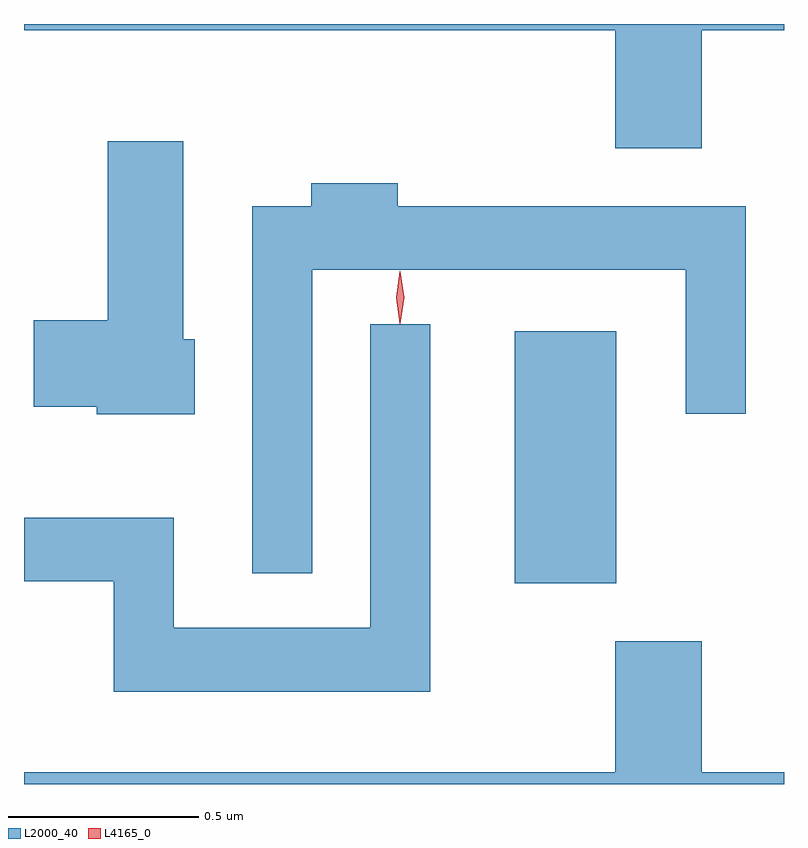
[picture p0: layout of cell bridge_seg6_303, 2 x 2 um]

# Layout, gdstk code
import gdstk
lib = gdstk.Library(unit=1e-6, precision=1e-09)
def R(c, l, rs):  # rectangles x0, y0, x1, y1
    for r in rs: c.add(gdstk.rectangle(r[:2], r[2:], *l))
def P(c, l, *ps):  # polygons
    for p in ps: c.add(gdstk.Polygon(p, *l))
L2000_40 = (2000, 40)
L4165_0 = (4165, 0)

bridge_seg6_303 = lib.new_cell('bridge_seg6_303')
R(bridge_seg6_303, L2000_40, [(1288.626,1537.481,1288.894,1538.144)])
P(bridge_seg6_303, L2000_40, [(1289.119,1538.936),(1289.335,1538.936),(1289.335,1538.953),(1287.335,1538.953),(1287.335,1538.936),(1288.891,1538.936),(1288.891,1538.626),(1289.119,1538.626)],
  [(1287.784,1538.124),(1287.754,1538.124),(1287.754,1538.644),(1287.556,1538.644),(1287.556,1538.174),(1287.361,1538.174),(1287.361,1537.946),(1287.526,1537.946),(1287.526,1537.926),(1287.784,1537.926)],
  [(1288.094,1538.306),(1289.076,1538.306),(1289.076,1537.928),(1289.234,1537.928),(1289.234,1538.474),(1288.319,1538.474),(1288.319,1538.534),(1288.091,1538.534),(1288.091,1538.474),(1287.936,1538.474),(1287.936,1537.508),(1288.094,1537.508)],
  [(1288.404,1538.163),(1288.246,1538.163),(1288.246,1537.364),(1287.729,1537.364),(1287.729,1537.654),(1287.335,1537.654),(1287.335,1537.486),(1287.571,1537.486),(1287.571,1537.196),(1288.404,1537.196)],
  [(1289.335,1536.984),(1289.119,1536.984),(1289.119,1537.329),(1288.891,1537.329),(1288.891,1536.984),(1287.335,1536.984),(1287.335,1536.953),(1289.335,1536.953)])
P(bridge_seg6_303, L4165_0, [(1288.324,1538.164),(1288.315,1538.233),(1288.324,1538.302),(1288.325,1538.303),(1288.325,1538.302),(1288.335,1538.233),(1288.325,1538.164),(1288.325,1538.164)],
  [(1288.324,1538.167),(1288.315,1538.234),(1288.324,1538.3),(1288.325,1538.301),(1288.325,1538.3),(1288.335,1538.234),(1288.325,1538.167),(1288.325,1538.167)])

lib.write_gds('bridge_seg6_303.gds')
